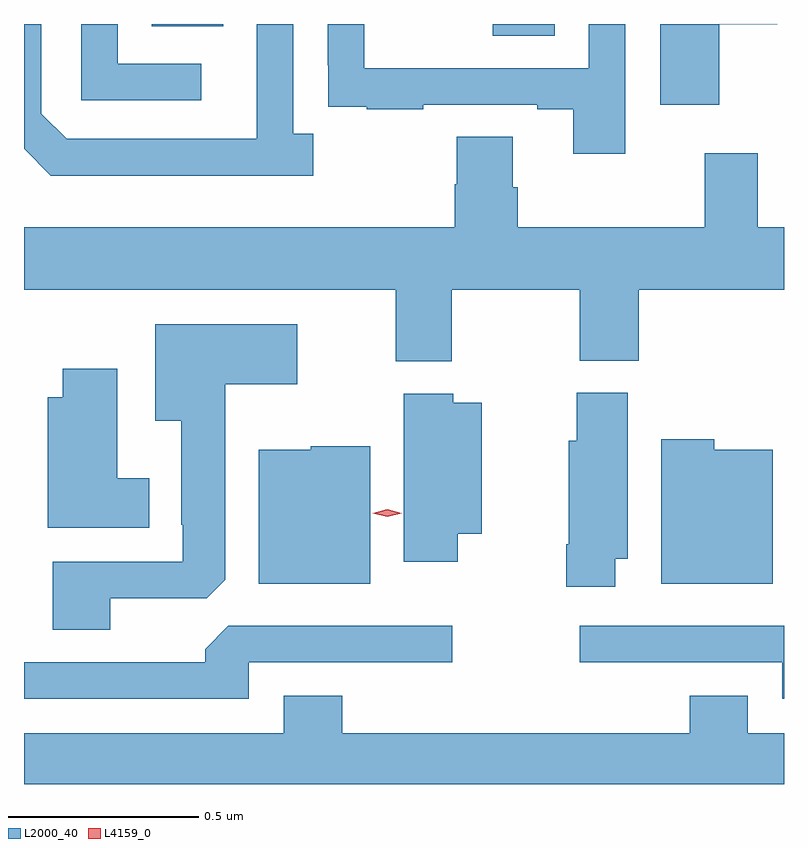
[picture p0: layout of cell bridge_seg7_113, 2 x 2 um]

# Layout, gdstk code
import gdstk
lib = gdstk.Library(unit=1e-6, precision=1e-09)
def R(c, l, rs):  # rectangles x0, y0, x1, y1
    for r in rs: c.add(gdstk.rectangle(r[:2], r[2:], *l))
def P(c, l, *ps):  # polygons
    for p in ps: c.add(gdstk.Polygon(p, *l))
L2000_40 = (2000, 40)
L4159_0 = (4159, 0)

bridge_seg7_113 = lib.new_cell('bridge_seg7_113')
R(bridge_seg7_113, L2000_40, [(1082,1015.936,1082.164,1015.967), (1081.103,1015.961,1081.291,1015.967)])
P(bridge_seg7_113, L2000_40, [(1082.349,1015.967),(1082.253,1015.967),(1082.253,1015.851),(1081.662,1015.851),(1081.662,1015.967),(1081.566,1015.967),(1081.566,1015.858),(1081.567,1015.858),(1081.567,1015.749),(1081.669,1015.749),(1081.669,1015.743),(1081.817,1015.743),(1081.817,1015.755),(1082.117,1015.755),(1082.117,1015.743),(1082.213,1015.743),(1082.213,1015.626),(1082.349,1015.626)],
  [(1081.528,1015.678),(1081.476,1015.678),(1081.476,1015.967),(1081.38,1015.967),(1081.38,1015.865),(1081.379,1015.865),(1081.379,1015.665),(1080.879,1015.665),(1080.813,1015.731),(1080.813,1015.967),(1080.767,1015.967),(1080.767,1015.639),(1080.838,1015.568),(1081.528,1015.568)],
  [(1081.234,1015.863),(1081.014,1015.863),(1081.014,1015.967),(1080.918,1015.967),(1080.918,1015.767),(1081.234,1015.767)],
  [(1082.596,1015.966),(1082.749,1015.966),(1082.749,1015.967),(1082.441,1015.967),(1082.441,1015.755),(1082.596,1015.755)],
  [(1082.23,1015.081),(1082.385,1015.081),(1082.385,1015.268),(1082.767,1015.268),(1082.767,1015.432),(1082.698,1015.432),(1082.698,1015.627),(1082.558,1015.627),(1082.558,1015.432),(1082.066,1015.432),(1082.066,1015.538),(1082.053,1015.538),(1082.053,1015.67),(1081.906,1015.67),(1081.906,1015.545),(1081.901,1015.545),(1081.901,1015.432),(1080.767,1015.432),(1080.767,1015.268),(1081.745,1015.268),(1081.745,1015.079),(1081.893,1015.079),(1081.893,1015.268),(1082.23,1015.268)],
  [(1080.994,1014.456),(1081.248,1014.456),(1081.297,1014.505),(1081.297,1015.019),(1081.486,1015.019),(1081.486,1015.177),(1081.112,1015.177),(1081.112,1014.923),(1081.181,1014.923),(1081.181,1014.649),(1081.185,1014.649),(1081.185,1014.552),(1080.842,1014.552),(1080.842,1014.373),(1080.994,1014.373)],
  [(1081.096,1014.772),(1081.012,1014.772),(1081.012,1015.06),(1080.869,1015.06),(1080.869,1014.985),(1080.83,1014.985),(1080.83,1014.641),(1081.096,1014.641)],
  [(1082.323,1014.56),(1082.356,1014.56),(1082.356,1014.996),(1082.222,1014.996),(1082.222,1014.87),(1082.201,1014.87),(1082.201,1014.598),(1082.194,1014.598),(1082.194,1014.486),(1082.323,1014.486)],
  [(1081.908,1014.626),(1081.972,1014.626),(1081.972,1014.97),(1081.896,1014.97),(1081.896,1014.994),(1081.766,1014.994),(1081.766,1014.552),(1081.908,1014.552)],
  [(1082.737,1014.847),(1082.583,1014.847),(1082.583,1014.874),(1082.444,1014.874),(1082.444,1014.494),(1082.737,1014.494)],
  [(1081.678,1014.856),(1081.521,1014.856),(1081.521,1014.847),(1081.385,1014.847),(1081.385,1014.494),(1081.678,1014.494)],
  [(1081.359,1014.288),(1081.894,1014.288),(1081.894,1014.384),(1081.305,1014.384),(1081.244,1014.322),(1081.244,1014.288),(1080.767,1014.288),(1080.767,1014.192),(1081.359,1014.192)],
  [(1082.767,1014.384),(1082.229,1014.384),(1082.229,1014.288),(1082.763,1014.288),(1082.763,1014.192),(1082.767,1014.192)],
  [(1082.767,1014.1),(1082.671,1014.1),(1082.671,1014.199),(1082.519,1014.199),(1082.519,1014.1),(1081.604,1014.1),(1081.604,1014.199),(1081.451,1014.199),(1081.451,1014.1),(1080.767,1014.1),(1080.767,1013.967),(1082.767,1013.967)])
P(bridge_seg7_113, L4159_0, [(1081.723,1014.67),(1081.685,1014.68),(1081.685,1014.68),(1081.685,1014.68),(1081.723,1014.69),(1081.761,1014.68),(1081.761,1014.68),(1081.761,1014.679)])

lib.write_gds('bridge_seg7_113.gds')
